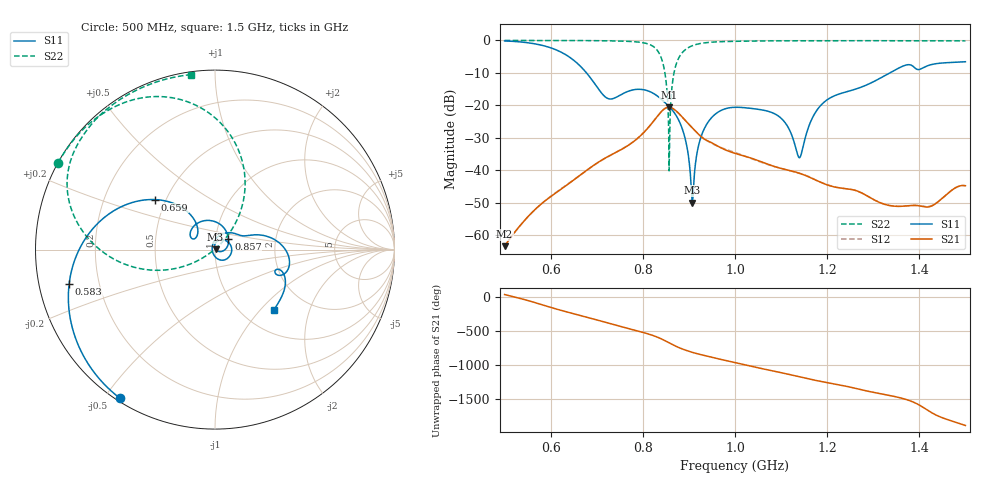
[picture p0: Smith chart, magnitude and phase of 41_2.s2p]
! TOUCHSTONE file generated by CST MICROWAVE STUDIO
! Date and time: Fri Oct  2 16:17:53 2020
! Project name: Scenario_1_Free_Space_out_of_line.cst
! Parameters = {Lambda=346.42; Step_1=17.321; dy1=-346; dx1=346; L_HA=400; MT=2.54; Rad_Dielectric=30; Rad_Lower=7.3; Rad_Upper=30; a_HA=580; a_WG=246; b_HA=500; b_WG=121; c_HA=0; c_WG=187; d_feed=85; h_feed=15; h_lower=18; h_upper=40}
! Header version: 2018
! Port assignment regex: !\s*Touchstone port\s*([0-9]+)\s*=\s*(CST MWS port|CST DS port)\s*([0-9]+|Zmin|Zmax)\s*\(\"(.*)\"\)(\s*mode\s*([0-9]+))?.*
! Touchstone port assignment:
! Touchstone port 1 = CST MWS port 1 ("")
! Touchstone port 2 = CST MWS port 2 ("")
# GHz S DB R 50
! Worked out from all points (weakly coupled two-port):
!   1003 points, 500 MHz to 1.5 GHz, reference 50 ohm
!   highest |S21| = -20.60 dB at 856 MHz (marker M1); lowest = -63.4 dB at 500 MHz (marker M2)
!   lowest |S11| = -50.0 dB at 907 MHz (marker M3), VSWR 1.01, Z = 50.3 + j0.116 ohm
!   |S11| at or under -10 dB: 677.6 MHz to 1.336 GHz (658.2 MHz wide, 65.4 % of centre)
!   |S22| runs from -40.2 to 0.0 dB; largest |S21 - S12| = 0.0013
!   S11 on the Smith chart (normalised r, x): 500 MHz: 0.01, -0.55; 583 MHz: 0.09, -0.11; 659 MHz: 0.44, +0.30; 857 MHz: 1.15, +0.14; 1.5 GHz: 1.38, -1.19
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0.5  -0.15 -122.6  -63.44 42.3  -63.42 42.0  -0.01 151.1
0.583  -1.57 -166.8  -50.02 -111.5  -49.99 -111.7  -0.02 145.4
0.659  -7.21 140.2  -42.08 104.0  -42.01 104.5  -0.04 139.1
0.667  -8.32 135.2  -41.23 89.8  -41.19 90.1  -0.04 138.3
0.724  -17.91 140.6  -35.83 -16.0  -35.87 -16.1  -0.12 131.6
0.792  -15.06 126.1  -29.77 -139.1  -29.75 -139.2  -0.53 116.2
0.834  -17.41 71.0  -22.95 128.4  -22.95 128.4  -3.61 83.7
0.847  -19.03 52.5  -21.08 87.0  -21.06 86.5  -9.27 61.6
0.856  -20.28 39.5  -20.60 54.9  -20.61 54.1  -27.21 46.1
0.857  -20.43 38.0  -20.60 51.2  -20.61 50.5  -40.20 54.8
0.873  -23.31 11.4  -21.84 -2.8  -21.87 -3.3  -7.07 -166.5
0.893  -30.97 -22.8  -24.79 -56.6  -24.79 -57.0  -2.75 173.4
0.907  -50.00 21.3  -26.93 -87.4  -26.93 -87.4  -1.64 164.7
0.921  -32.34 95.1  -28.96 -113.8  -28.89 -113.4  -1.05 158.2
0.936  -26.49 75.2  -30.65 -137.5  -30.59 -137.9  -0.71 153.0
1  -20.61 0.5  -34.82 121.7  -34.55 122.9  -0.27 140.2
1.095  -23.40 -60.1  -39.28 -19.9  -39.26 -20.3  -0.12 130.2
1.139  -36.14 -167.5  -40.92 -86.2  -40.96 -86.5  -0.10 126.4
1.167  -24.17 85.2  -42.52 -129.2  -42.40 -129.9  -0.10 124.2
1.334  -10.15 12.9  -50.87 -0.4  -50.86 -0.4  -0.09 111.5
1.423  -7.57 -21.5  -51.25 119.1  -51.13 119.1  -0.11 104.5
1.5  -6.57 -45.6  -44.80 -83.9  -44.85 -84.5  -0.14 97.9
